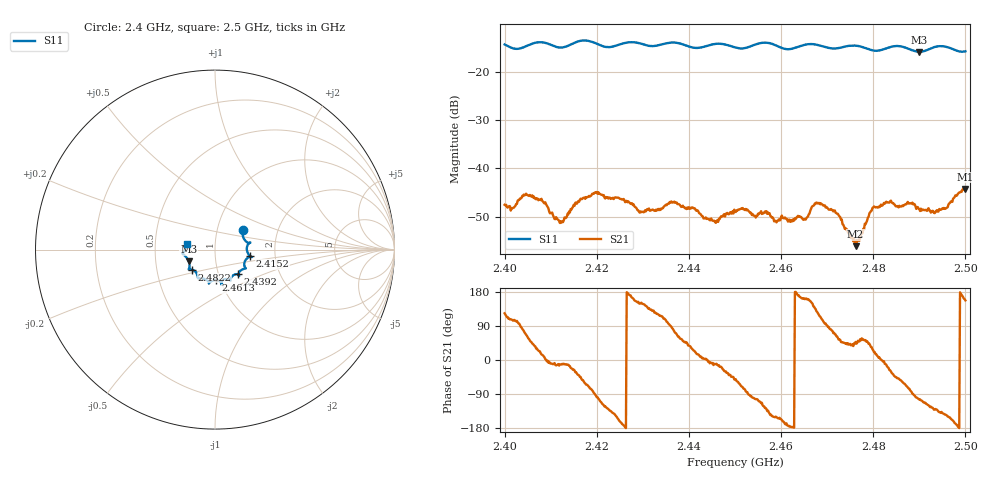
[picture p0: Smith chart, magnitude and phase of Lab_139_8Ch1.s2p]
# Hz S RI R 50
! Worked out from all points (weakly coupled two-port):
!   601 points, 2.4 GHz to 2.5 GHz, reference 50 ohm
!   highest |S21| = -44.27 dB at 2.5 GHz (marker M1); lowest = -56.1 dB at 2.4762 GHz (marker M2)
!   lowest |S11| = -15.9 dB at 2.49 GHz (marker M3), VSWR 1.38, Z = 36.9 - j4.87 ohm
!   |S11| at or under -10 dB: start of sweep to end of sweep
!   S12 and S22 are empty: the file has one direction only
!   S11 on the Smith chart (normalised r, x): 2.4 GHz: 1.33, +0.30; 2.4152 GHz: 1.48, -0.11; 2.4392 GHz: 1.24, -0.35; 2.4613 GHz: 0.96, -0.34; 2.4822 GHz: 0.76, -0.17; 2.5 GHz: 0.72, +0.05
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2.4e9  0.1556 0.1101  -0.0023 0.0035  0 0  0 0
2.405167e9  0.1834 0.0383  0.00286 0.00437  0 0  0 0
2.412333e9  0.1771 0.00124  0.00268 -0.000559  0 0  0 0
2.415167e9  0.1951 -0.036  0.00363 -0.00188  0 0  0 0
2.416667e9  0.2046 -0.042  0.00309 -0.00366  0 0  0 0
2.42e9  0.1896 -0.0419  -0.000792 -0.00563  0 0  0 0
2.429667e9  0.162 -0.107  -0.00309 0.00169  0 0  0 0
2.433333e9  0.1324 -0.1323  -0.00192 0.00328  0 0  0 0
2.439167e9  0.127 -0.1379  0.00259 0.00285  0 0  0 0
2.445833e9  0.0855 -0.1736  0.00267 -0.000521  0 0  0 0
2.45e9  0.0687 -0.1642  0.00222 -0.00285  0 0  0 0
2.461333e9  0.00676 -0.1702  -0.00295 -0.000384  0 0  0 0
2.465167e9  -0.033 -0.1866  -0.00281 0.000994  0 0  0 0
2.466667e9  -0.0336 -0.1896  -0.00347 0.00194  0 0  0 0
2.472e9  -0.0655 -0.1608  0.00158 0.00305  0 0  0 0
2.476167e9  -0.0941 -0.1597  0.00105 0.00116  0 0  0 0
2.479667e9  -0.1039 -0.1301  0.00304 0.00203  0 0  0 0
2.482167e9  -0.1276 -0.1117  0.00421 -0.000342  0 0  0 0
2.483333e9  -0.1389 -0.1103  0.00413 -0.00159  0 0  0 0
2.49e9  -0.1466 -0.0642  -0.000949 -0.00367  0 0  0 0
2.495667e9  -0.1799 -0.0199  -0.00308 -0.00223  0 0  0 0
2.5e9  -0.1587 0.0335  -0.00565 0.00235  0 0  0 0
